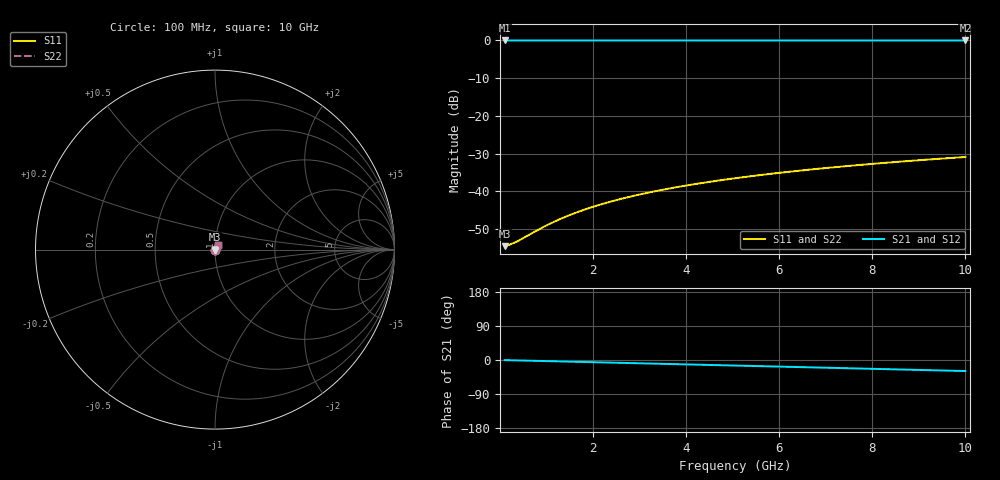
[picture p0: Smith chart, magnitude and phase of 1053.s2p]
# Hz S RI R 50.00
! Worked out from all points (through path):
!   100 points, 100 MHz to 10 GHz, reference 50 ohm
!   highest |S21| = -0.02 dB at 100 MHz (marker M1); lowest = 0.0 dB at 10 GHz (marker M2)
!   group delay of S21, straight-line fit = 8.1 ps
!   lowest |S11| = -54.6 dB at 100 MHz (marker M3), VSWR 1.00, Z = 50.2 + j0.029 ohm
!   |S11| at or under -10 dB: start of sweep to end of sweep
!   |S22| runs from -54.6 to -30.9 dB; largest |S21 - S12| = 0
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1e8  0.00185 0.000289  0.9981 -0.00504  0.9981 -0.00504  0.00185 0.000289
2e8  0.00186 0.000577  0.9981 -0.0101  0.9981 -0.0101  0.00186 0.000577
3e8  0.00188 0.000865  0.998 -0.0151  0.998 -0.0151  0.00188 0.000865
4e8  0.00189 0.00115  0.9979 -0.0202  0.9979 -0.0202  0.00189 0.00115
9e8  0.002 0.00259  0.997 -0.0454  0.997 -0.0454  0.002 0.00259
1.2e9  0.0021 0.00345  0.9962 -0.0605  0.9962 -0.0605  0.0021 0.00345
1.5e9  0.00222 0.0043  0.9952 -0.0756  0.9952 -0.0756  0.00222 0.0043
1.8e9  0.00237 0.00515  0.9939 -0.0906  0.9939 -0.0906  0.00237 0.00515
2.1e9  0.00254 0.00599  0.9924 -0.1057  0.9924 -0.1057  0.00254 0.00599
2.5e9  0.00281 0.0071  0.99 -0.1258  0.99 -0.1258  0.00281 0.0071
2.9e9  0.00313 0.0082  0.9872 -0.1458  0.9872 -0.1458  0.00313 0.0082
3.4e9  0.00358 0.00955  0.9832 -0.1707  0.9832 -0.1707  0.00358 0.00955
3.8e9  0.00399 0.0106  0.9795 -0.1906  0.9795 -0.1906  0.00399 0.0106
4.2e9  0.00445 0.0117  0.9754 -0.2105  0.9754 -0.2105  0.00445 0.0117
4.6e9  0.00494 0.0127  0.9709 -0.2302  0.9709 -0.2302  0.00494 0.0127
5.1e9  0.00562 0.0139  0.9647 -0.2548  0.9647 -0.2548  0.00562 0.0139
5.9e9  0.00684 0.0158  0.9534 -0.2939  0.9534 -0.2939  0.00684 0.0158
6.7e9  0.00822 0.0177  0.9406 -0.3325  0.9406 -0.3325  0.00822 0.0177
7.5e9  0.00975 0.0194  0.9261 -0.3706  0.9261 -0.3706  0.00975 0.0194
8.4e9  0.0116 0.0212  0.908 -0.4128  0.908 -0.4128  0.0116 0.0212
9.2e9  0.0135 0.0226  0.8903 -0.4496  0.8903 -0.4496  0.0135 0.0226
1e10  0.0154 0.0239  0.871 -0.4857  0.871 -0.4857  0.0154 0.0239
